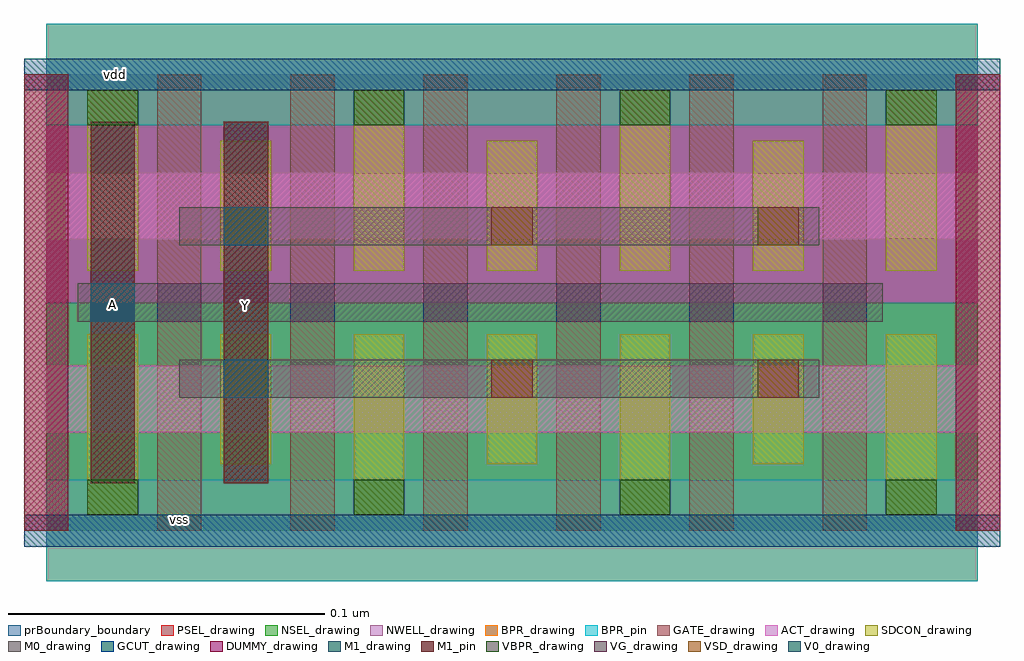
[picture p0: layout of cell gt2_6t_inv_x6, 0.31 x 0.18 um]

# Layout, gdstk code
import gdstk
lib = gdstk.Library(unit=1e-6, precision=5e-10)
def R(c, l, rs):  # rectangles x0, y0, x1, y1
    for r in rs: c.add(gdstk.rectangle(r[:2], r[2:], *l))
def A(c, l, x, y, w, h, nx, ny, dx, dy):  # array of equal rectangles
    R(c, l, [(x+i*dx, y+j*dy, x+i*dx+w, y+j*dy+h) for i in range(nx) for j in range(ny)])
NWELL_drawing = (1, 0)
ACT_drawing = (2, 0)
GATE_drawing = (3, 0)
DUMMY_drawing = (4, 0)
GCUT_drawing = (5, 0)
NSEL_drawing = (6, 0)
PSEL_drawing = (7, 0)
BPR_drawing = (8, 0)
BPR_pin = (8, 251)
VBPR_drawing = (9, 0)
SDCON_drawing = (10, 0)
VSD_drawing = (11, 0)
VG_drawing = (12, 0)
M0_drawing = (20, 0)
V0_drawing = (22, 0)
M1_drawing = (25, 0)
M1_pin = (25, 251)
prBoundary_boundary = (235, 250)

gt2_6t_inv_x6 = lib.new_cell('gt2_6t_inv_x6')
R(gt2_6t_inv_x6, NWELL_drawing, [(0,0.072,0.294,0.144)])
R(gt2_6t_inv_x6, ACT_drawing, [(0,0.031,0.294,0.052), (0,0.092,0.294,0.113)])
A(gt2_6t_inv_x6, GATE_drawing, -0.007, 0, 0.014, 0.144, 8, 1, 0.042, 0)
R(gt2_6t_inv_x6, DUMMY_drawing, [(-0.007,0,0.007,0.144), (0.287,0,0.301,0.144)])
R(gt2_6t_inv_x6, GCUT_drawing, [(-0.007,-0.005,0.301,0.005), (-0.007,0.139,0.301,0.149)])
R(gt2_6t_inv_x6, NSEL_drawing, [(0,0,0.294,0.072)])
R(gt2_6t_inv_x6, PSEL_drawing, [(0,0.072,0.294,0.144)])
R(gt2_6t_inv_x6, BPR_drawing, [(0,-0.016,0.294,0.016), (0,0.128,0.294,0.16)])
R(gt2_6t_inv_x6, BPR_pin, [(0,-0.016,0.294,0.016), (0,0.128,0.294,0.16)])
A(gt2_6t_inv_x6, VBPR_drawing, 0.013, 0.005, 0.016, 0.011, 4, 2, 0.084, 0.123)
A(gt2_6t_inv_x6, SDCON_drawing, 0.013, 0.005, 0.016, 0.057, 4, 2, 0.084, 0.077)
A(gt2_6t_inv_x6, SDCON_drawing, 0.055, 0.021, 0.016, 0.041, 3, 2, 0.084, 0.061)
A(gt2_6t_inv_x6, VSD_drawing, 0.0565, 0.042, 0.013, 0.012, 3, 2, 0.084, 0.048)
A(gt2_6t_inv_x6, VG_drawing, 0.035, 0.066, 0.014, 0.012, 6, 1, 0.042, 0)
R(gt2_6t_inv_x6, M0_drawing, [(0.042,0.042,0.244,0.054), (0.01,0.066,0.264,0.078), (0.042,0.09,0.244,0.102)])
R(gt2_6t_inv_x6, V0_drawing, [(0.056,0.042,0.07,0.054), (0.014,0.066,0.028,0.078), (0.056,0.09,0.07,0.102)])
R(gt2_6t_inv_x6, M1_drawing, [(0.014,0.015,0.028,0.129), (0.056,0.015,0.07,0.129)])
R(gt2_6t_inv_x6, M1_pin, [(0.014,0.015,0.028,0.129), (0.056,0.015,0.07,0.129)])
R(gt2_6t_inv_x6, prBoundary_boundary, [(0,0,0.294,0.144)])
gt2_6t_inv_x6.add(gdstk.Label('vss', (0.042,0.0035), layer=8, texttype=251))
gt2_6t_inv_x6.add(gdstk.Label('vdd', (0.022,0.144), layer=8, texttype=251))
gt2_6t_inv_x6.add(gdstk.Label('Y', (0.063,0.071), layer=25, texttype=251))
gt2_6t_inv_x6.add(gdstk.Label('A', (0.021,0.0715), layer=25, texttype=251))

lib.write_gds('gt2_6t_inv_x6.gds')
